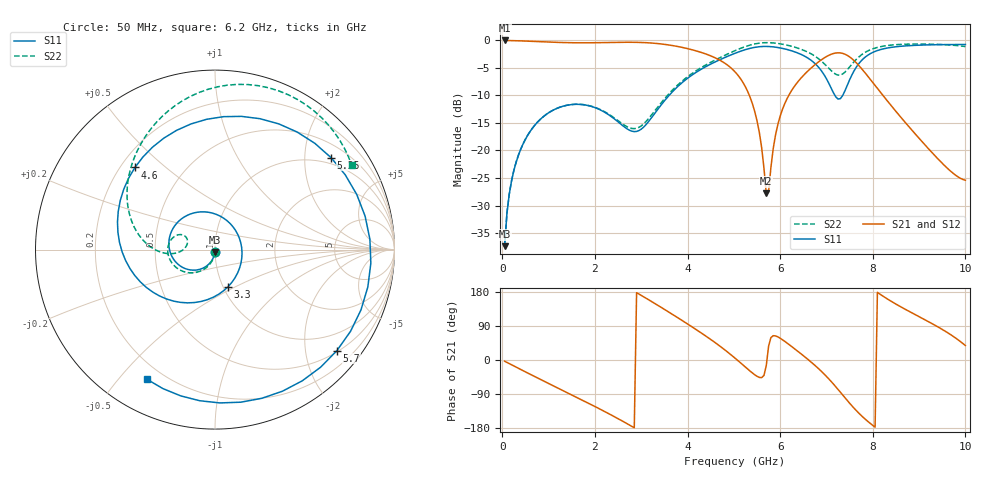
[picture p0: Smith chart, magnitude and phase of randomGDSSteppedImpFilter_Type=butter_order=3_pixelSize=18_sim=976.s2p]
! freq	dB(S11)	phase(S11)	dB(S12)	phase(S12)
!  dB(S21)	phase(S21)	dB(S22)	phase(S22)
!S-par simulation data
#  GHz  S  DB  R 50
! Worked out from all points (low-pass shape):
!   200 points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, 50 MHz to 10 GHz, reference 50 ohm
!   highest |S21| = -0.01 dB at 50 MHz (marker M1); lowest = -27.8 dB at 5.7 GHz (marker M2)
!   |S21| within 3 dB of the highest: start of sweep to 4.557 GHz; 6.985 GHz to 7.502 GHz (517 MHz wide, 7.14 % of centre)
!   lowest |S11| = -37.4 dB at 50 MHz (marker M3), VSWR 1.03, Z = 49.9 - j1.35 ohm
!   |S11| at or under -10 dB: start of sweep to 3.6 GHz; 7.184 GHz to 7.351 GHz (167.6 MHz wide, 2.31 % of centre)
!   |S22| runs from -37.4 to -0.4 dB; largest |S21 - S12| = 0
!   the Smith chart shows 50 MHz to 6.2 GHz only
!   S11 on the Smith chart (normalised r, x): 50 MHz: 1.00, -0.03; 3.3 GHz: 1.05, -0.46; 4.6 GHz: 0.26, +0.40; 5.25 GHz: 0.82, +2.65; 5.7 GHz: 0.53, -2.68; 6.2 GHz: 0.14, -0.60
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0.05  -37.38 -92.9  -0.01 -3.2  -0.01 -3.2  -37.38 -92.5
0.2  -25.50 -103.5  -0.03 -12.7  -0.03 -12.7  -25.50 -101.8
0.5  -17.94 -124.0  -0.11 -31.4  -0.11 -31.4  -17.94 -119.5
1.75  -11.68 149.2  -0.44 -107.3  -0.44 -107.3  -11.66 175.5
2.6  -15.48 60.3  -0.34 -161.6  -0.34 -161.6  -15.19 157.1
3.3  -13.17 -70.8  -0.53 148.7  -0.53 148.7  -12.71 -174.6
3.4  -12.05 -85.4  -0.61 141.2  -0.61 141.2  -11.65 -175.1
4  -6.88 -156.6  -1.49 95.2  -1.49 95.2  -6.60 164.4
4.6  -3.89 134.2  -3.17 45.5  -3.17 45.5  -3.55 134.0
5.05  -2.26 71.0  -5.94 2.4  -5.94 2.4  -1.77 108.6
5.25  -1.67 38.4  -8.43 -18.7  -8.43 -18.7  -1.12 95.9
5.55  -1.14 -13.7  -16.69 -46.0  -16.69 -46.0  -0.49 75.1
5.7  -1.09 -39.6  -27.80 -15.0  -27.80 -15.0  -0.40 64.5
5.95  -1.29 -80.4  -15.28 61.1  -15.28 61.1  -0.55 47.5
6.2  -1.77 -117.8  -9.77 40.1  -9.77 40.1  -0.96 31.7
6.7  -3.82 170.0  -4.78 -8.7  -4.78 -8.7  -2.59 3.2
7.05  -7.77 100.5  -2.71 -49.8  -2.71 -49.8  -5.05 -8.6
7.35  -10.02 -17.1  -2.36 -92.3  -2.36 -92.3  -6.10 2.0
7.75  -3.71 -122.8  -5.04 -146.4  -5.04 -146.4  -2.66 -2.9
8.35  -1.32 164.4  -11.36 158.4  -11.36 158.4  -0.89 -35.2
9.15  -0.82 102.3  -19.19 104.6  -19.19 104.6  -0.66 -73.2
10  -0.74 48.6  -25.40 38.2  -25.40 38.2  -1.12 -117.7
